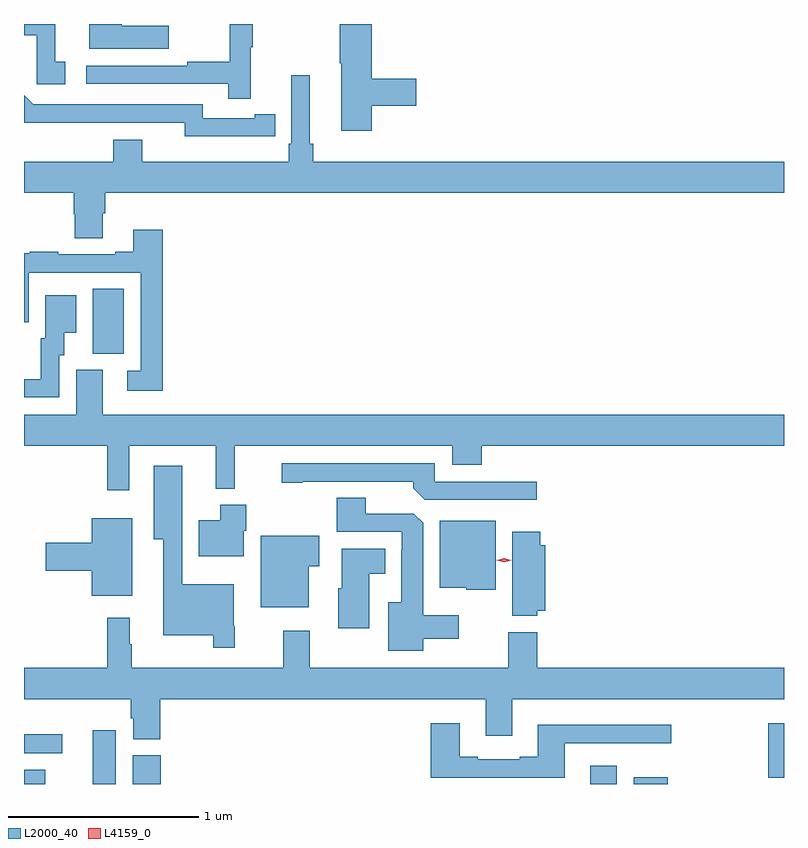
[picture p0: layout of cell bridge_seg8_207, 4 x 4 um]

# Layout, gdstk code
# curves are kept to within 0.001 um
import gdstk
lib = gdstk.Library(unit=1e-6, precision=1e-09)
def R(c, l, rs):  # rectangles x0, y0, x1, y1
    for r in rs: c.add(gdstk.rectangle(r[:2], r[2:], *l))
def P(c, l, *ps):  # polygons
    for p in ps: c.add(gdstk.Polygon(p, *l))
L2000_40 = (2000, 40)
L4159_0 = (4159, 0)

bridge_seg8_207 = lib.new_cell('bridge_seg8_207')
R(bridge_seg8_207, L2000_40, [(168.774,1116.053,168.886,1116.127), (169.136,1116.053,169.258,1116.337), (169.346,1116.053,169.493,1116.204), (171.755,1116.053,171.895,1116.148), (171.983,1116.053,172.162,1116.088), (172.691,1116.086,172.774,1116.373), (168.774,1116.216,168.976,1116.314), (169.136,1118.317,169.3,1118.66)])
P(bridge_seg8_207, L2000_40, [(169.537,1120.045),(169.289,1120.045),(169.289,1120.053),(169.118,1120.053),(169.118,1119.923),(169.537,1119.923)],
  [(168.991,1119.855),(168.938,1119.855),(168.938,1120.053),(168.774,1120.053),(168.774,1119.993),(168.84,1119.993),(168.84,1119.735),(168.991,1119.735)],
  [(169.967,1119.931),(169.978,1119.931),(169.978,1120.053),(169.857,1120.053),(169.857,1119.854),(169.633,1119.854),(169.633,1119.834),(169.101,1119.834),(169.101,1119.738),(169.849,1119.738),(169.849,1119.66),(169.967,1119.66)],
  [(170.603,1119.622),(170.839,1119.622),(170.839,1119.764),(170.603,1119.764),(170.603,1120.053),(170.437,1120.053),(170.437,1119.847),(170.444,1119.847),(170.444,1119.492),(170.603,1119.492)],
  [(169.189,1119.058),(169.202,1119.058),(169.202,1119.164),(172.774,1119.164),(172.774,1119.328),(170.297,1119.328),(170.297,1119.424),(170.278,1119.424),(170.278,1119.784),(170.181,1119.784),(170.181,1119.424),(170.168,1119.424),(170.168,1119.328),(169.396,1119.328),(169.396,1119.445),(169.244,1119.445),(169.244,1119.328),(168.774,1119.328),(168.774,1119.164),(169.037,1119.164),(169.037,1119.051),(169.042,1119.051),(169.042,1118.926),(169.189,1118.926)],
  [(169.988,1119.462),(170.096,1119.462),(170.096,1119.578),(169.988,1119.578),(169.988,1119.558),(169.716,1119.558),(169.716,1119.63),(168.822,1119.63),(168.774,1119.678),(168.774,1119.533),(169.62,1119.534),(169.62,1119.461)],
  [(169.505,1118.971),(169.349,1118.971),(169.349,1118.854),(169.253,1118.854),(169.253,1118.841),(168.953,1118.841),(168.953,1118.854),(168.805,1118.854),(168.805,1118.847),(168.774,1118.847),(168.774,1118.484),(168.798,1118.484),(168.798,1118.745),(169.389,1118.745),(169.389,1118.229),(169.317,1118.229),(169.317,1118.124),(169.505,1118.124)],
  [(168.96,1118.31),(168.985,1118.31),(168.985,1118.429),(169.048,1118.429),(169.048,1118.626),(168.887,1118.626),(168.887,1118.4),(168.863,1118.4),(168.863,1118.184),(168.774,1118.184),(168.774,1118.088),(168.96,1118.088)],
  [(169.329,1117.832),(169.784,1117.832),(169.784,1117.607),(169.884,1117.607),(169.884,1117.832),(171.029,1117.832),(171.029,1117.733),(171.182,1117.733),(171.182,1117.832),(172.774,1117.832),(172.774,1117.996),(169.189,1117.996),(169.189,1118.232),(169.049,1118.232),(169.049,1117.996),(168.774,1117.996),(168.774,1117.832),(169.213,1117.832),(169.213,1117.599),(169.329,1117.599)],
  [(171.472,1117.644),(170.937,1117.644),(170.937,1117.74),(170.13,1117.74),(170.13,1117.639),(170.242,1117.639),(170.242,1117.644),(170.822,1117.644),(170.822,1117.61),(170.883,1117.548),(171.472,1117.548)],
  [(169.883,1116.883),(169.878,1116.883),(169.878,1117.105),(169.606,1117.105),(169.606,1117.729),(169.457,1117.729),(169.457,1117.34),(169.508,1117.34),(169.508,1116.836),(169.77,1116.836),(169.77,1116.771),(169.883,1116.771)],
  [(170.875,1116.818),(171.061,1116.818),(171.061,1116.94),(170.875,1116.94),(170.875,1117.427),(170.826,1117.476),(170.572,1117.476),(170.572,1117.559),(170.42,1117.559),(170.42,1117.38),(170.763,1117.38),(170.763,1117.283),(170.759,1117.283),(170.759,1117.009),(170.69,1117.009),(170.69,1116.755),(170.875,1116.755)],
  [(169.93,1117.386),(169.943,1117.386),(169.943,1117.522),(169.808,1117.522),(169.808,1117.441),(169.694,1117.441),(169.694,1117.253),(169.93,1117.253)],
  [(169.345,1117.453),(169.13,1117.453),(169.13,1117.322),(168.888,1117.322),(168.888,1117.175),(169.13,1117.175),(169.13,1117.043),(169.345,1117.043)],
  [(171.256,1117.438),(170.963,1117.438),(170.963,1117.085),(171.102,1117.085),(171.102,1117.076),(171.256,1117.076)],
  [(171.474,1116.965),(171.517,1116.965),(171.517,1117.309),(171.491,1117.309),(171.491,1117.381),(171.344,1117.381),(171.344,1116.938),(171.474,1116.938)],
  [(170.272,1117.198),(170.329,1117.198),(170.329,1117.36),(170.021,1117.36),(170.021,1116.983),(170.272,1116.983)],
  [(170.59,1117.16),(170.674,1117.16),(170.674,1117.291),(170.447,1117.291),(170.447,1117.083),(170.429,1117.083),(170.429,1116.873),(170.59,1116.873)],
  [(169.49,1116.5),(171.203,1116.5),(171.203,1116.306),(171.343,1116.306),(171.343,1116.5),(172.774,1116.5),(172.774,1116.664),(171.476,1116.664),(171.476,1116.853),(171.323,1116.853),(171.323,1116.664),(170.278,1116.664),(170.278,1116.859),(170.138,1116.859),(170.138,1116.664),(169.342,1116.664),(169.342,1116.788),(169.33,1116.788),(169.33,1116.928),(169.213,1116.928),(169.213,1116.664),(168.774,1116.664),(168.774,1116.5),(169.337,1116.5),(169.337,1116.399),(169.349,1116.399),(169.349,1116.289),(169.49,1116.289)],
  [(171.619,1116.267),(172.18,1116.267),(172.18,1116.364),(171.479,1116.364),(171.479,1116.196),(171.383,1116.196),(171.383,1116.183),(171.163,1116.183),(171.163,1116.196),(171.067,1116.196),(171.067,1116.373),(170.915,1116.373),(170.915,1116.086),(171.619,1116.086)])
P(bridge_seg8_207, L4159_0, [(171.301,1117.22),(171.263,1117.23),(171.263,1117.23),(171.263,1117.23),(171.301,1117.24),(171.339,1117.23),(171.339,1117.23),(171.339,1117.23)])

lib.write_gds('bridge_seg8_207.gds')
